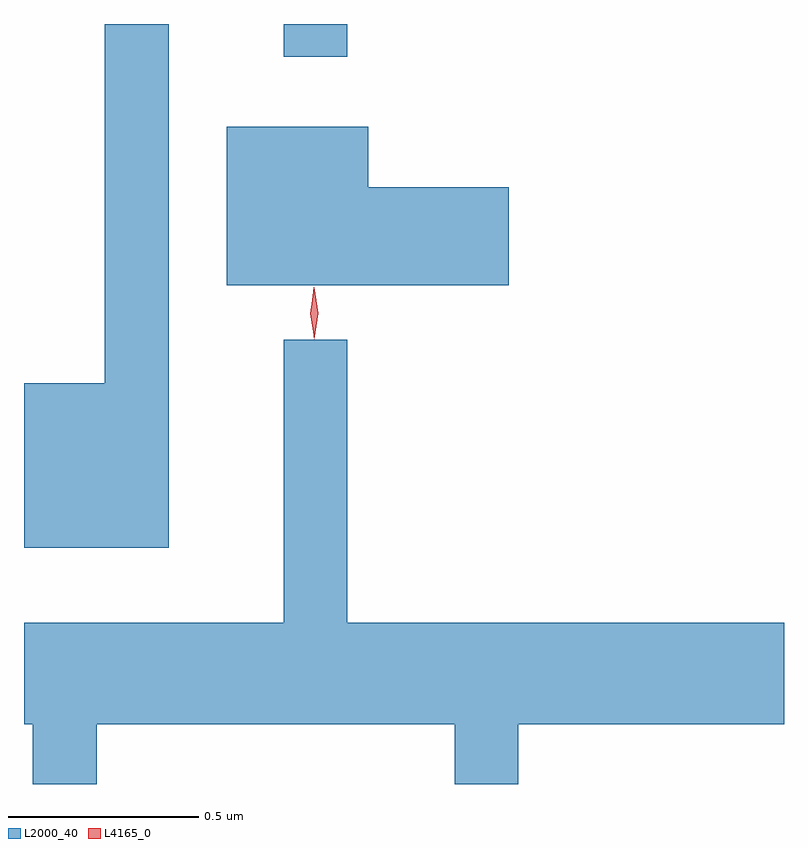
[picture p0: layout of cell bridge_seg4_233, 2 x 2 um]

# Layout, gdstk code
import gdstk
lib = gdstk.Library(unit=1e-6, precision=1e-09)
def R(c, l, rs):  # rectangles x0, y0, x1, y1
    for r in rs: c.add(gdstk.rectangle(r[:2], r[2:], *l))
def P(c, l, *ps):  # polygons
    for p in ps: c.add(gdstk.Polygon(p, *l))
L2000_40 = (2000, 40)
L4165_0 = (4165, 0)

bridge_seg4_233 = lib.new_cell('bridge_seg4_233')
R(bridge_seg4_233, L2000_40, [(730.681,1369.753,730.849,1369.839)])
P(bridge_seg4_233, L2000_40, [(730.379,1369.839),(730.211,1369.839),(730.211,1368.894),(729.998,1368.894),(729.998,1368.461),(730.379,1368.461)],
  [(731.274,1369.409),(730.904,1369.409),(730.904,1369.569),(730.531,1369.569),(730.531,1369.151),(731.274,1369.151)],
  [(730.189,1367.996),(731.131,1367.996),(731.131,1367.839),(731.299,1367.839),(731.299,1367.996),(731.998,1367.996),(731.998,1368.264),(730.849,1368.264),(730.849,1369.008),(730.681,1369.008),(730.681,1368.264),(729.998,1368.264),(729.998,1367.996),(730.021,1367.996),(730.021,1367.839),(730.189,1367.839)])
P(bridge_seg4_233, L4165_0, [(730.762,1369.01),(730.762,1369.01),(730.752,1369.078),(730.761,1369.146),(730.761,1369.146),(730.762,1369.146),(730.772,1369.078),(730.762,1369.01)],
  [(730.762,1369.013),(730.762,1369.013),(730.751,1369.076),(730.76,1369.139),(730.761,1369.14),(730.761,1369.139),(730.771,1369.076),(730.762,1369.013)])

lib.write_gds('bridge_seg4_233.gds')
